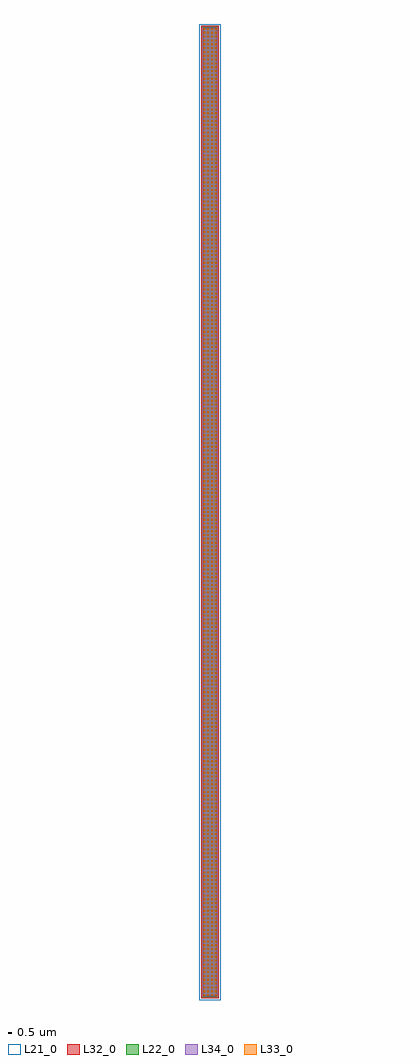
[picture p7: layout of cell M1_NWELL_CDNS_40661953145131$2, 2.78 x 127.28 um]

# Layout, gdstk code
import gdstk
lib = gdstk.Library(unit=1e-6, precision=1e-09)
def R(c, l, rs):  # rectangles x0, y0, x1, y1
    for r in rs: c.add(gdstk.rectangle(r[:2], r[2:], *l))
def A(c, l, x, y, w, h, nx, ny, dx, dy):  # array of equal rectangles
    R(c, l, [(x+i*dx, y+j*dy, x+i*dx+w, y+j*dy+h) for i in range(nx) for j in range(ny)])
L21_0 = (21, 0)
L22_0 = (22, 0)
L32_0 = (32, 0)
L33_0 = (33, 0)
L34_0 = (34, 0)

m1_nwell_cdns_4066195314 = lib.new_cell('M1_NWELL_CDNS_40661953145131$2')
R(m1_nwell_cdns_4066195314, L21_0, [(-1.39,-63.64,1.39,63.64)])
R(m1_nwell_cdns_4066195314, L22_0, [(-0.975,-63.225,0.975,63.225)])
R(m1_nwell_cdns_4066195314, L32_0, [(-1.135,-63.385,1.135,63.385)])
A(m1_nwell_cdns_4066195314, L33_0, -0.86, -63.11, 0.22, 0.22, 4, 253, 0.5, 0.5)
R(m1_nwell_cdns_4066195314, L34_0, [(-0.92,-63.17,0.92,63.17)])

lib.write_gds('M1_NWELL_CDNS_40661953145131_2.gds')
